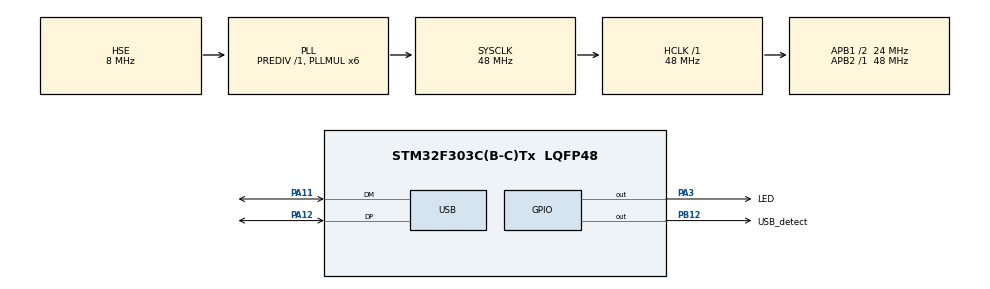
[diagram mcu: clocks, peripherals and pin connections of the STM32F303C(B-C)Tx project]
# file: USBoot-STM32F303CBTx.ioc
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Mcu.Family=STM32F3
Mcu.Name=STM32F303C(B-C)Tx
Mcu.Package=LQFP48
NVIC.PriorityGroup=NVIC_PRIORITYGROUP_4
NVIC.TIM2_IRQn=true\:0\:0\:false\:false\:true\:true\:true
NVIC.USB_LP_CAN_RX0_IRQn=true\:0\:0\:false\:false\:true\:false\:true
PA11.Mode=Device
PA11.Signal=USB_DM
PA12.Mode=Device
PA12.Signal=USB_DP
PA13.Mode=Serial_Wire
PA13.Signal=SYS_JTMS-SWDIO
PA14.Mode=Serial_Wire
PA14.Signal=SYS_JTCK-SWCLK
PA3.GPIO_Label=LED
PA3.Signal=GPIO_Output
PB12.GPIO_Label=USB_detect
PB12.Signal=GPIO_Output
PF0-OSC_IN.Mode=HSE-External-Oscillator
PF0-OSC_IN.Signal=RCC_OSC_IN
PF1-OSC_OUT.Mode=HSE-External-Oscillator
PF1-OSC_OUT.Signal=RCC_OSC_OUT
ProjectManager.HeapSize=0x200
ProjectManager.StackSize=0x400
ProjectManager.TargetToolchain=MDK-ARM V5
RCC.AHBFreq_Value=48000000
RCC.APB1CLKDivider=RCC_HCLK_DIV2
RCC.APB1Freq_Value=24000000
RCC.APB1TimFreq_Value=48000000
RCC.APB2Freq_Value=48000000
RCC.APB2TimFreq_Value=48000000
RCC.CortexFreq_Value=48000000
RCC.HCLKFreq_Value=48000000
RCC.HSE_VALUE=8000000
RCC.HSI_VALUE=8000000
RCC.LSE_VALUE=32768
RCC.PLLMUL=RCC_PLL_MUL6
RCC.SYSCLKFreq_VALUE=48000000
RCC.SYSCLKSourceVirtual=RCC_SYSCLKSOURCE_PLLCLK
RCC.USBFreq_Value=48000000
TIM2.ClockDivision=TIM_CLOCKDIVISION_DIV4
TIM2.Period=62499
TIM2.Prescaler=319
USB_DEVICE.CLASS_NAME_FS=CUSTOM_HID
USB_DEVICE.VirtualMode=CustomHid
USB_DEVICE.VirtualModeFS=Custom_Hid_FS
VP_TIM2_VS_ClockSourceINT.Mode=Internal
VP_USB_DEVICE_VS_USB_DEVICE_CUSTOM_HID_FS.Mode=CUSTOM_HID_FS
board=custom

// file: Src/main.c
/* USER CODE BEGIN Header */
/**
  ******************************************************************************
  * @file           : main.c
  * @brief          : Main program body
  ******************************************************************************
  * @attention
  *
  * <h2><center>&copy; Copyright (c) 2020 STMicroelectronics.
  * All rights reserved.</center></h2>
  *
  * This software component is licensed by ST under Ultimate Liberty license
  * SLA0044, the "License"; You may not use this file except in compliance with
  * the License. You may obtain a copy of the License at:
  *                             www.st.com/SLA0044
  *
  ******************************************************************************
  */
/* USER CODE END Header */

#include "main.h"
#include "usb_device.h"

/* USER CODE BEGIN Includes */
#include "bootloader.h"
#include "usbd_customhid.h"
/* USER CODE END Includes */

/* USER CODE BEGIN PTD */
extern	USBD_HandleTypeDef hUsbDeviceFS;
static FLASH_EraseInitTypeDef EraseInitStruct;
/* USER CODE END PTD */

TIM_HandleTypeDef htim2;

/* USER CODE BEGIN PV */
bool UpdateFirmwareRequestFlag = false; // This flag true, if bootloader got update firmware request from USBoot app , else false
bool ClearFlashFlag = false;						// This flag true, if bootloader got clear flash request from USBoot app , else false
bool UpdatingInProcessFlag = false;			// This flag true, if the updating status online, else false
bool newSubPageFlag = false;						// This flag true, if bootloader got new part of qPageData from USBoot app, else false
bool MCURestartFlag = false;						// This flag true, if bootloader got restart MCU command from USBoot app, else false
bool MCURestartFromTimerFlag = false;		// This flag true, if bootloader got restart MCU command from Timer, else false
bool FlashEresed = false;

bool  USBdetectedFlag = false;					// This flag true, if USB bus power detected, else false

uint8_t THDBuff[CUSTOM_HID_EPOUT_SIZE]; 			// TO host data buffer
#define TH_RepoertID THDBuff[0]								// Repord_ID to host
uint8_t FHDBuff[CUSTOM_HID_EPOUT_SIZE];				// FROM host data buffer
#define FH_RepoertID FHDBuff[0]								// Repord_ID from host

/*
	* Page is 2048-bytes;
	*	1/4 page is 512 bytes = qPageData;
	* 512/32 = 16 => subPageNumber in range [0..15]
*/
uint8_t subPageData[32];		// Part of qPageData
uint32_t subPageNumber = 0;	// Number of part: 512/32 = 16 => subPageNumber in range [0..15]
uint8_t qPageData[512];			// Quarter of page data
uint8_t pageNumber = 0;			// Number of page in range [0..NUM_OF_PAGES] (see bootloader.h)
/*uint8_t testQPage[512] ={
0xD8, 0x0E, 0x00, 0x20, 0x9D, 0xA1, 0x00, 0x08, 0x9F, 0xB9, 0x00, 0x08, 0x0D, 0xB9, 0x00, 0x08,
0x9D, 0xB9, 0x00, 0x08, 0x5F, 0xA2, 0x00, 0x08, 0x19, 0xC9, 0x00, 0x08, 0x00, 0x00, 0x00, 0x00,
0x00, 0x00, 0x00, 0x00, 0x00, 0x00, 0x00, 0x00, 0x00, 0x00, 0x00, 0x00, 0x81, 0xBD, 0x00, 0x08,
0x6D, 0xA2, 0x00, 0x08, 0x00, 0x00, 0x00, 0x00, 0x7F, 0xBD, 0x00, 0x08, 0x83, 0xBD, 0x00, 0x08,
0xB7, 0xA1, 0x00, 0x08, 0xB7, 0xA1, 0x00, 0x08, 0xB7, 0xA1, 0x00, 0x08, 0xB7, 0xA1, 0x00, 0x08,
0xB7, 0xA1, 0x00, 0x08, 0xB7, 0xA1, 0x00, 0x08, 0xB7, 0xA1, 0x00, 0x08, 0xB7, 0xA1, 0x00, 0x08,
0xB7, 0xA1, 0x00, 0x08, 0xB7, 0xA1, 0x00, 0x08, 0xB7, 0xA1, 0x00, 0x08, 0xB7, 0xA1, 0x00, 0x08,
0xB7, 0xA1, 0x00, 0x08, 0xB7, 0xA1, 0x00, 0x08, 0xB7, 0xA1, 0x00, 0x08, 0xB7, 0xA1, 0x00, 0x08,
0xB7, 0xA1, 0x00, 0x08, 0xB7, 0xA1, 0x00, 0x08, 0xB7, 0xA1, 0x00, 0x08, 0xB7, 0xA1, 0x00, 0x08,
0x0D, 0xC9, 0x00, 0x08, 0xB7, 0xA1, 0x00, 0x08, 0xB7, 0xA1, 0x00, 0x08, 0xB7, 0xA1, 0x00, 0x08,
0xB7, 0xA1, 0x00, 0x08, 0xB7, 0xA1, 0x00, 0x08, 0xB7, 0xA1, 0x00, 0x08, 0xB7, 0xA1, 0x00, 0x08,
0xB7, 0xA1, 0x00, 0x08, 0xB7, 0xA1, 0x00, 0x08, 0xB7, 0xA1, 0x00, 0x08, 0xB7, 0xA1, 0x00, 0x08,
0xB7, 0xA1, 0x00, 0x08, 0xB7, 0xA1, 0x00, 0x08, 0xB7, 0xA1, 0x00, 0x08, 0xB7, 0xA1, 0x00, 0x08,
0xB7, 0xA1, 0x00, 0x08, 0xB7, 0xA1, 0x00, 0x08, 0xB7, 0xA1, 0x00, 0x08, 0xB7, 0xA1, 0x00, 0x08,
0xB7, 0xA1, 0x00, 0x08, 0xB7, 0xA1, 0x00, 0x08, 0xB7, 0xA1, 0x00, 0x08, 0xB7, 0xA1, 0x00, 0x08,
0xB7, 0xA1, 0x00, 0x08, 0xB7, 0xA1, 0x00, 0x08, 0xB7, 0xA1, 0x00, 0x08, 0xB7, 0xA1, 0x00, 0x08,
0x00, 0x00, 0x00, 0x00, 0x00, 0x00, 0x00, 0x00, 0x00, 0x00, 0x00, 0x00, 0xB7, 0xA1, 0x00, 0x08,
0xB7, 0xA1, 0x00, 0x08, 0xB7, 0xA1, 0x00, 0x08, 0xB7, 0xA1, 0x00, 0x08, 0xB7, 0xA1, 0x00, 0x08,
0xB7, 0xA1, 0x00, 0x08, 0xB7, 0xA1, 0x00, 0x08, 0xB7, 0xA1, 0x00, 0x08, 0xB7, 0xA1, 0x00, 0x08,
0xB7, 0xA1, 0x00, 0x08, 0xB7, 0xA1, 0x00, 0x08, 0x00, 0x00, 0x00, 0x00, 0x00, 0x00, 0x00, 0x00,
0xB7, 0xA1, 0x00, 0x08, 0xB7, 0xA1, 0x00, 0x08, 0xB7, 0xA1, 0x00, 0x08, 0x00, 0x00, 0x00, 0x00,
0x00, 0x00, 0x00, 0x00, 0x00, 0x00, 0x00, 0x00, 0x00, 0x00, 0x00, 0x00, 0x00, 0x00, 0x00, 0x00,
0x00, 0x00, 0x00, 0x00, 0x00, 0x00, 0x00, 0x00, 0xB7, 0xA1, 0x00, 0x08, 0xB7, 0xA1, 0x00, 0x08,
0xB7, 0xA1, 0x00, 0x08, 0x00, 0x00, 0x00, 0x00, 0x00, 0x00, 0x00, 0x00, 0x00, 0x00, 0x00, 0x00,
0x00, 0x00, 0x00, 0x00, 0xB7, 0xA1, 0x00, 0x08, 0xDF, 0xF8, 0x0C, 0xD0, 0x00, 0xF0, 0x2A, 0xF8,
0x00, 0x48, 0x00, 0x47, 0x39, 0xC9, 0x00, 0x08, 0xD8, 0x0E, 0x00, 0x20, 0x06, 0x48, 0x80, 0x47,
0x06, 0x48, 0x00, 0x47, 0xFE, 0xE7, 0xFE, 0xE7, 0xFE, 0xE7, 0xFE, 0xE7, 0xFE, 0xE7, 0xFE, 0xE7,
0xFE, 0xE7, 0xFE, 0xE7, 0xFE, 0xE7, 0xFE, 0xE7, 0xE9, 0xBD, 0x00, 0x08, 0x89, 0xA1, 0x00, 0x08,
0xD2, 0xB2, 0x01, 0xE0, 0x00, 0xF8, 0x01, 0x2B, 0x49, 0x1E, 0xFB, 0xD2, 0x70, 0x47, 0x00, 0x22,
0xF6, 0xE7, 0x10, 0xB5, 0x13, 0x46, 0x0A, 0x46, 0x04, 0x46, 0x19, 0x46, 0xFF, 0xF7, 0xF0, 0xFF,
0x20, 0x46, 0x10, 0xBD, 0x06, 0x4C, 0x07, 0x4D, 0x06, 0xE0, 0xE0, 0x68, 0x40, 0xF0, 0x01, 0x03,
0x94, 0xE8, 0x07, 0x00, 0x98, 0x47, 0x10, 0x34, 0xAC, 0x42, 0xF6, 0xD3, 0xFF, 0xF7, 0xC8, 0xFF};*/

//uint32_t mainProgramPageAddress = MAIN_PROGRAM_START_ADDRESS;

/* USER CODE END PV */

void SystemClock_Config(void);
static void MX_GPIO_Init(void);
static void MX_TIM2_Init(void);

/* USER CODE BEGIN 0 */

void FLASH_EraseCountPages()
{
	FlashEresed = false;
	EraseInitStruct.TypeErase = FLASH_TYPEERASE_PAGES;//FLASH_TYPEERASE_MASSERASE;//
	EraseInitStruct.PageAddress = ADDR_FLASH_PAGE_20;//0x0800A000;//MAIN_PROGRAM_START_ADDRESS;
	EraseInitStruct.NbPages = NUM_OF_PAGES - MAIN_PROGRAM_PAGE_NUMBER; //108
	uint32_t eraseResult = 0;

	//HAL_FLASHEx_Erase(&flashType, &eraseResult);
	if(HAL_FLASHEx_Erase(&EraseInitStruct, &eraseResult) != HAL_OK) {
    //Erase error!
		while (1)
		{
			FlashEresed = false;
			HAL_GPIO_TogglePin(LED_GPIO_Port, LED_Pin);
			HAL_Delay(150);
		}
	}
	else{
		//HAL_Delay(250);
		FlashEresed = true;
		HAL_GPIO_WritePin(LED_GPIO_Port, LED_Pin, GPIO_PIN_SET);
	}
//	for(int i = MAIN_PROGRAM_START_ADDRESS; i <  NUM_OF_PAGES - MAIN_PROGRAM_PAGE_NUMBER; i++){
//		FLASH_PageErase(i);
//	}

} //End of FLASH_EraseCountPages()
/* USER CODE END 0 */

int main(void)
{

  /* MCU Configuration--------------------------------------------------------*/

  /* Reset of all peripherals, Initializes the Flash interface and the Systick. */
  HAL_Init();

  /* Configure the system clock */
  SystemClock_Config();

  /* Initialize all configured peripherals */

  /* USER CODE BEGIN 2 */
  MX_GPIO_Init();
	USBdetectedFlag = DetectUSB(USB_detect_GPIO_Port, USB_detect_Pin);

	if(USBdetectedFlag)
	{
		MX_USB_DEVICE_Init();
		MX_TIM2_Init();
		HAL_TIM_Base_Start_IT(&htim2); // Start WaitRequestUpdateTime seconds waiting timer
	}
	else
	{
			//UpdateFirmwareRequestFlag = false;
			Boot_GoToMainProgram();
	}
  /* USER CODE END 2 */

  /* Infinite loop */
  /* USER CODE BEGIN WHILE */

  while (1)
  {
		//---------------------------------------------------------------//
		//------------- Detect Update Firmware Request flag -------------//
		//------------- and USB detected Flag 							-------------//
		//---------------------------------------------------------------//
		if(USBdetectedFlag && UpdateFirmwareRequestFlag)
		{

			HAL_TIM_Base_Stop_IT(&htim2); // Stop WaitRequestUpdateTime seconds waiting timer
			HAL_GPIO_WritePin(LED_GPIO_Port, LED_Pin, GPIO_PIN_RESET);

			HAL_FLASH_Unlock();

			Send_ReadyMessage_To_USBHost(); // Send to USBoot app ready message

			UpdatingInProcessFlag = true;		// Set updating status online
			HAL_GPIO_WritePin(LED_GPIO_Port, LED_Pin, GPIO_PIN_SET);

			UpdateFirmwareRequestFlag = false;	//Reset update firmware request flag

		}
		//---------------------------------------------------------------//
		//------------- ClearFlash request handler ----------------------//
		//---------------------------------------------------------------//
		if(ClearFlashFlag)
		{
			HAL_GPIO_WritePin(LED_GPIO_Port, LED_Pin, GPIO_PIN_RESET);

			FLASH_EraseCountPages(); // delete old program

			Send_FlashErasedStatus_To_USBHost(FlashEresed);
			HAL_Delay(100);
			Send_FlashErasedStatus_To_USBHost(FlashEresed);
			HAL_Delay(100);
			Send_FlashErasedStatus_To_USBHost(FlashEresed);
			HAL_Delay(100);

			ClearFlashFlag = false;
		}
		//---------------------------------------------------------------//
		//------------- newSubPage request handler ----------------------//
		//---------------------------------------------------------------//
		if(newSubPageFlag)
		{
			//----------------------------------------------------//
			//-----	Forming qPageData from subPagData arrays -----//
			//----------------------------------------------------//
			if(subPageNumber < 16)
			{
				for(int i = 0; i < 32; i++){
						int subPageInPagePosition = (32 * subPageNumber) + i;
						qPageData[subPageInPagePosition] = subPageData[i];
				}
				subPageNumber++;	// Count the number of subPages	of qPageData
			}
			//----------------------------------------------------//
			//-----	Write qPageData from USBoot app to flash -----//
			//----- **************************************** -----//
			//----- Send request new qPageData to USBoot app -----//
			//----------------------------------------------------//
			if(subPageNumber == 16)
			{
				HAL_GPIO_WritePin(LED_GPIO_Port, LED_Pin, GPIO_PIN_RESET);

				//HAL_FLASH_Unlock();
				FLASH_WriteNewFirmwarePageData(qPageData);
				//HAL_FLASH_Lock();

				pageNumber++;	// Count the number of qPages of Pages
				HAL_Delay(100);
				Send_RequestNewSubPage_To_USBHost();
				HAL_Delay(100);
				Send_RequestNewSubPage_To_USBHost();
				HAL_Delay(100);
				Send_RequestNewSubPage_To_USBHost();

				subPageNumber = 0;

				HAL_GPIO_WritePin(LED_GPIO_Port, LED_Pin, GPIO_PIN_SET);
			}
			newSubPageFlag = false;	// Reset new SubPage flag
		}
		//---------------------------------------------------------------//
		//------------- MCU restart request handler ---------------------//
		//---------------------------------------------------------------//
		if(MCURestartFlag || MCURestartFromTimerFlag)
		{
			HAL_FLASH_Lock();
			//__nop();
			Boot_GoToMainProgram();
			//MCURestartFlag = false;
		}

		/* USER CODE END WHILE */

  }
}

void SystemClock_Config(void)
{
  RCC_OscInitTypeDef RCC_OscInitStruct = {0};
  RCC_ClkInitTypeDef RCC_ClkInitStruct = {0};
  RCC_PeriphCLKInitTypeDef PeriphClkInit = {0};

  /** Initializes the CPU, AHB and APB busses clocks
  */
  RCC_OscInitStruct.OscillatorType = RCC_OSCILLATORTYPE_HSE;
  RCC_OscInitStruct.HSEState = RCC_HSE_ON;
  RCC_OscInitStruct.HSEPredivValue = RCC_HSE_PREDIV_DIV1;
  RCC_OscInitStruct.HSIState = RCC_HSI_ON;
  RCC_OscInitStruct.PLL.PLLState = RCC_PLL_ON;
  RCC_OscInitStruct.PLL.PLLSource = RCC_PLLSOURCE_HSE;
  RCC_OscInitStruct.PLL.PLLMUL = RCC_PLL_MUL6;
  if (HAL_RCC_OscConfig(&RCC_OscInitStruct) != HAL_OK)
  {
    Error_Handler();
  }
  /** Initializes the CPU, AHB and APB busses clocks
  */
  RCC_ClkInitStruct.ClockType = RCC_CLOCKTYPE_HCLK|RCC_CLOCKTYPE_SYSCLK
                              |RCC_CLOCKTYPE_PCLK1|RCC_CLOCKTYPE_PCLK2;
  RCC_ClkInitStruct.SYSCLKSource = RCC_SYSCLKSOURCE_PLLCLK;
  RCC_ClkInitStruct.AHBCLKDivider = RCC_SYSCLK_DIV1;
  RCC_ClkInitStruct.APB1CLKDivider = RCC_HCLK_DIV2;
  RCC_ClkInitStruct.APB2CLKDivider = RCC_HCLK_DIV1;

  if (HAL_RCC_ClockConfig(&RCC_ClkInitStruct, FLASH_LATENCY_1) != HAL_OK)
  {
    Error_Handler();
  }
  PeriphClkInit.PeriphClockSelection = RCC_PERIPHCLK_USB;
  PeriphClkInit.USBClockSelection = RCC_USBCLKSOURCE_PLL;
  if (HAL_RCCEx_PeriphCLKConfig(&PeriphClkInit) != HAL_OK)
  {
    Error_Handler();
  }
}

static void MX_TIM2_Init(void)
{

  TIM_ClockConfigTypeDef sClockSourceConfig = {0};
  TIM_MasterConfigTypeDef sMasterConfig = {0};

  htim2.Instance = TIM2;
  htim2.Init.Prescaler = 749;
  htim2.Init.CounterMode = TIM_COUNTERMODE_UP;
  htim2.Init.Period = 63999;
  htim2.Init.ClockDivision = TIM_CLOCKDIVISION_DIV4;
  htim2.Init.AutoReloadPreload = TIM_AUTORELOAD_PRELOAD_DISABLE;
  if (HAL_TIM_Base_Init(&htim2) != HAL_OK)
  {
    Error_Handler();
  }
  sClockSourceConfig.ClockSource = TIM_CLOCKSOURCE_INTERNAL;
  if (HAL_TIM_ConfigClockSource(&htim2, &sClockSourceConfig) != HAL_OK)
  {
    Error_Handler();
  }
  sMasterConfig.MasterOutputTrigger = TIM_TRGO_RESET;
  sMasterConfig.MasterSlaveMode = TIM_MASTERSLAVEMODE_DISABLE;
  if (HAL_TIMEx_MasterConfigSynchronization(&htim2, &sMasterConfig) != HAL_OK)
  {
    Error_Handler();
  }

}

static void MX_GPIO_Init(void)
{
  GPIO_InitTypeDef GPIO_InitStruct = {0};

  /* GPIO Ports Clock Enable */
  __HAL_RCC_GPIOC_CLK_ENABLE();
  __HAL_RCC_GPIOF_CLK_ENABLE();
  __HAL_RCC_GPIOA_CLK_ENABLE();
	__HAL_RCC_GPIOB_CLK_ENABLE();

  /*Configure GPIO pin Output Level */
  HAL_GPIO_WritePin(LED_GPIO_Port, LED_Pin, GPIO_PIN_RESET);

  /*Configure GPIO pin : USB_detect_Pin */
  GPIO_InitStruct.Pin = USB_detect_Pin;
  GPIO_InitStruct.Mode = GPIO_MODE_INPUT;
  GPIO_InitStruct.Pull = GPIO_NOPULL;
  HAL_GPIO_Init(USB_detect_GPIO_Port, &GPIO_InitStruct);

  /*Configure GPIO pin : LED_Pin */
  GPIO_InitStruct.Pin = LED_Pin;
  GPIO_InitStruct.Mode = GPIO_MODE_OUTPUT_PP;
  GPIO_InitStruct.Pull = GPIO_NOPULL;
  GPIO_InitStruct.Speed = GPIO_SPEED_FREQ_LOW;
  HAL_GPIO_Init(LED_GPIO_Port, &GPIO_InitStruct);

}

void Error_Handler(void)
{
}

/************************ (C) COPYRIGHT STMicroelectronics *****END OF FILE****/
